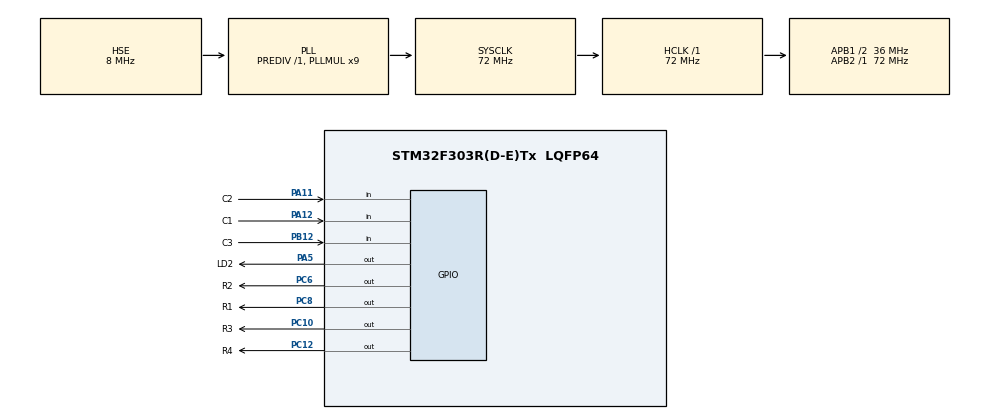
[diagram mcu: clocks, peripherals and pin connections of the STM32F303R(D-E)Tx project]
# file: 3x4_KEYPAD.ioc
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Mcu.Family=STM32F3
RCC.PLLSourceVirtual=RCC_PLLSOURCE_HSE
RCC.CortexFreq_Value=72000000
PC10.GPIO_Label=R3
PC10.Signal=GPIO_Output
PC12.Signal=GPIO_Output
RCC.SYSCLKSourceVirtual=RCC_SYSCLKSOURCE_PLLCLK
PC8.Signal=GPIO_Output
PC6.Signal=GPIO_Output
PC6.GPIO_Label=R2
PA11.GPIO_Label=C2
PC12.GPIO_ModeDefaultOutputPP=GPIO_MODE_OUTPUT_OD
PC10.GPIO_Speed=GPIO_SPEED_FREQ_HIGH
PA11.GPIO_PuPd=GPIO_PULLUP
RCC.APB1CLKDivider=RCC_HCLK_DIV2
PA12.GPIO_Label=C1
ProjectManager.StackSize=0x400
PC8.GPIO_Label=R1
PA13.Signal=SYS_JTMS-SWDIO
PA12.Signal=GPIO_Input
ProjectManager.TargetToolchain=STM32CubeIDE
RCC.HCLKFreq_Value=72000000
RCC.APB2TimFreq_Value=72000000
RCC.USBFreq_Value=72000000
RCC.LSE_VALUE=32768
RCC.AHBFreq_Value=72000000
PF0-OSC_IN.Mode=HSE-External-Oscillator
PA5.Signal=GPIO_Output
RCC.HSE_VALUE=8000000
board=NUCLEO-F303RE
RCC.RCC_PLLsource_Clock_Source_FROM_HSE=RCC_HSE_PREDIV_DIV2
RCC.PLLMUL=RCC_PLL_MUL9
PB12.GPIO_Label=C3
RCC.APB2Freq_Value=72000000
PA14.Mode=Serial_Wire
PA13.Mode=Serial_Wire
Mcu.Name=STM32F303R(D-E)Tx
PC10.GPIO_ModeDefaultOutputPP=GPIO_MODE_OUTPUT_OD
RCC.SYSCLKFreq_VALUE=72000000
Mcu.Package=LQFP64
PA5.GPIO_Label=LD2
RCC.EnbaleCSS=true
PC12.GPIO_Label=R4
PA11.Signal=GPIO_Input
PC8.GPIO_ModeDefaultOutputPP=GPIO_MODE_OUTPUT_OD
PA14.Signal=SYS_JTCK-SWCLK
ProjectManager.HeapSize=0x200
PC8.GPIO_Speed=GPIO_SPEED_FREQ_HIGH
RCC.HSI_VALUE=8000000
RCC.PLLP=RCC_PLLP_DIV4
RCC.PLLQ=7
NVIC.PriorityGroup=NVIC_PRIORITYGROUP_0
RCC.PLLM=8
RCC.PLLN=336
RCC.APB1TimFreq_Value=72000000
PF0-OSC_IN.Signal=RCC_OSC_IN
PF1-OSC_OUT.Mode=HSE-External-Oscillator
PB12.GPIO_PuPd=GPIO_PULLUP
PA12.GPIO_PuPd=GPIO_PULLUP
RCC.APB1Freq_Value=36000000
PC12.GPIO_Speed=GPIO_SPEED_FREQ_HIGH
PC6.GPIO_Speed=GPIO_SPEED_FREQ_HIGH
PB12.Signal=GPIO_Input
PF1-OSC_OUT.Signal=RCC_OSC_OUT
PC6.GPIO_ModeDefaultOutputPP=GPIO_MODE_OUTPUT_OD

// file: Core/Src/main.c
/* USER CODE BEGIN Header */
/* USER CODE END Header */
#include "main.h"

void SystemClock_Config(void);
static void MX_GPIO_Init(void);
/* USER CODE BEGIN PFP */
char keypad_scanner(void);
int _write(int file, char *ptr, int len);
/* USER CODE END PFP */

int main(void)
{

  /* MCU Configuration--------------------------------------------------------*/

  /* Reset of all peripherals, Initializes the Flash interface and the Systick. */
  HAL_Init();

  /* Configure the system clock */
  SystemClock_Config();

  /* Initialize all configured peripherals */
  MX_GPIO_Init();
  /* USER CODE BEGIN 2 */
  char key;
  /* USER CODE END 2 */

  /* Infinite loop */
  /* USER CODE BEGIN WHILE */
  while (1)
  {
	  key = keypad_scanner();

  	  HAL_Delay (200);

  	  if ( key != 'n')
  	  {
		  if (key == '1' || key == '7' || key == '5' || key == '0' || key == '3' || key == '#')
			  {
				 HAL_GPIO_WritePin(LD2_GPIO_Port, LD2_Pin, 1);
			  }

		  else
		  {
			  HAL_GPIO_WritePin(LD2_GPIO_Port, LD2_Pin, 0);
		  }
  	  }

  }
    /* USER CODE END WHILE */

}

void SystemClock_Config(void)
{
  RCC_OscInitTypeDef RCC_OscInitStruct = {0};
  RCC_ClkInitTypeDef RCC_ClkInitStruct = {0};

  /** Initializes the RCC Oscillators according to the specified parameters
  * in the RCC_OscInitTypeDef structure.
  */
  RCC_OscInitStruct.OscillatorType = RCC_OSCILLATORTYPE_HSE;
  RCC_OscInitStruct.HSEState = RCC_HSE_ON;
  RCC_OscInitStruct.HSIState = RCC_HSI_ON;
  RCC_OscInitStruct.PLL.PLLState = RCC_PLL_ON;
  RCC_OscInitStruct.PLL.PLLSource = RCC_PLLSOURCE_HSE;
  RCC_OscInitStruct.PLL.PLLMUL = RCC_PLL_MUL9;
  RCC_OscInitStruct.PLL.PREDIV = RCC_PREDIV_DIV1;
  if (HAL_RCC_OscConfig(&RCC_OscInitStruct) != HAL_OK)
  {
    Error_Handler();
  }
  /** Initializes the CPU, AHB and APB buses clocks
  */
  RCC_ClkInitStruct.ClockType = RCC_CLOCKTYPE_HCLK|RCC_CLOCKTYPE_SYSCLK
                              |RCC_CLOCKTYPE_PCLK1|RCC_CLOCKTYPE_PCLK2;
  RCC_ClkInitStruct.SYSCLKSource = RCC_SYSCLKSOURCE_PLLCLK;
  RCC_ClkInitStruct.AHBCLKDivider = RCC_SYSCLK_DIV1;
  RCC_ClkInitStruct.APB1CLKDivider = RCC_HCLK_DIV2;
  RCC_ClkInitStruct.APB2CLKDivider = RCC_HCLK_DIV1;

  if (HAL_RCC_ClockConfig(&RCC_ClkInitStruct, FLASH_LATENCY_2) != HAL_OK)
  {
    Error_Handler();
  }
  /** Enables the Clock Security System
  */
  HAL_RCC_EnableCSS();
}

static void MX_GPIO_Init(void)
{
  GPIO_InitTypeDef GPIO_InitStruct = {0};

  /* GPIO Ports Clock Enable */
  __HAL_RCC_GPIOF_CLK_ENABLE();
  __HAL_RCC_GPIOA_CLK_ENABLE();
  __HAL_RCC_GPIOB_CLK_ENABLE();
  __HAL_RCC_GPIOC_CLK_ENABLE();

  /*Configure GPIO pin Output Level */
  HAL_GPIO_WritePin(LD2_GPIO_Port, LD2_Pin, GPIO_PIN_RESET);

  /*Configure GPIO pin Output Level */
  HAL_GPIO_WritePin(GPIOC, R2_Pin|R1_Pin|R3_Pin|R4_Pin, GPIO_PIN_RESET);

  /*Configure GPIO pin : LD2_Pin */
  GPIO_InitStruct.Pin = LD2_Pin;
  GPIO_InitStruct.Mode = GPIO_MODE_OUTPUT_PP;
  GPIO_InitStruct.Pull = GPIO_NOPULL;
  GPIO_InitStruct.Speed = GPIO_SPEED_FREQ_LOW;
  HAL_GPIO_Init(LD2_GPIO_Port, &GPIO_InitStruct);

  /*Configure GPIO pin : C3_Pin */
  GPIO_InitStruct.Pin = C3_Pin;
  GPIO_InitStruct.Mode = GPIO_MODE_INPUT;
  GPIO_InitStruct.Pull = GPIO_PULLUP;
  HAL_GPIO_Init(C3_GPIO_Port, &GPIO_InitStruct);

  /*Configure GPIO pins : R2_Pin R1_Pin R3_Pin R4_Pin */
  GPIO_InitStruct.Pin = R2_Pin|R1_Pin|R3_Pin|R4_Pin;
  GPIO_InitStruct.Mode = GPIO_MODE_OUTPUT_OD;
  GPIO_InitStruct.Pull = GPIO_NOPULL;
  GPIO_InitStruct.Speed = GPIO_SPEED_FREQ_HIGH;
  HAL_GPIO_Init(GPIOC, &GPIO_InitStruct);

  /*Configure GPIO pins : C2_Pin C1_Pin */
  GPIO_InitStruct.Pin = C2_Pin|C1_Pin;
  GPIO_InitStruct.Mode = GPIO_MODE_INPUT;
  GPIO_InitStruct.Pull = GPIO_PULLUP;
  HAL_GPIO_Init(GPIOA, &GPIO_InitStruct);

}

/* USER CODE BEGIN 4 */
char keypad_scanner(void)
{
	HAL_GPIO_WritePin(R1_GPIO_Port, R1_Pin, 0); //Pin voltage level is '0'
	HAL_GPIO_WritePin(R2_GPIO_Port, R2_Pin, 1); //Pin voltage level is '1'
	HAL_GPIO_WritePin(R3_GPIO_Port, R3_Pin, 1); //Pin voltage level is '1'
	HAL_GPIO_WritePin(R4_GPIO_Port, R4_Pin, 1); //Pin voltage level is '1'

	if (HAL_GPIO_ReadPin(C1_GPIO_Port, C1_Pin)==0)
	{
		HAL_Delay(50);
		while (HAL_GPIO_ReadPin(C1_GPIO_Port, C1_Pin)==0);
		return '1';
	}

	else if (HAL_GPIO_ReadPin(C2_GPIO_Port, C2_Pin)==0)
	{
		HAL_Delay(50);
		while (HAL_GPIO_ReadPin(C2_GPIO_Port, C2_Pin)==0);
		return '2';
	}

	else if (HAL_GPIO_ReadPin(C3_GPIO_Port, C3_Pin)==0)
	{
		HAL_Delay(50);
		while (HAL_GPIO_ReadPin(C3_GPIO_Port, C3_Pin)==0);
		return '3';
	}

	HAL_GPIO_WritePin(R1_GPIO_Port, R1_Pin, 1); //Pin voltage level is '1'
	HAL_GPIO_WritePin(R2_GPIO_Port, R2_Pin, 0); //Pin voltage level is '0'
	HAL_GPIO_WritePin(R3_GPIO_Port, R3_Pin, 1); //Pin voltage level is '1'
	HAL_GPIO_WritePin(R4_GPIO_Port, R4_Pin, 1); //Pin voltage level is '1'

	if (HAL_GPIO_ReadPin(C1_GPIO_Port, C1_Pin)==0)
	{
		HAL_Delay(50);
		while (HAL_GPIO_ReadPin(C1_GPIO_Port, C1_Pin)==0);
		return '4';
	}

	else if (HAL_GPIO_ReadPin(C2_GPIO_Port, C2_Pin)==0)
	{
		HAL_Delay(50);
		while (HAL_GPIO_ReadPin(C2_GPIO_Port, C2_Pin)==0);
		return '5';
	}

	else if (HAL_GPIO_ReadPin(C3_GPIO_Port, C3_Pin)==0)
	{
		HAL_Delay(50);
		while (HAL_GPIO_ReadPin(C3_GPIO_Port, C3_Pin)==0);
		return '6';
	}

	HAL_GPIO_WritePin(R1_GPIO_Port, R1_Pin, 1); //Pin voltage level is '1'
	HAL_GPIO_WritePin(R2_GPIO_Port, R2_Pin, 1); //Pin voltage level is '1'
	HAL_GPIO_WritePin(R3_GPIO_Port, R3_Pin, 0); //Pin voltage level is '0'
	HAL_GPIO_WritePin(R4_GPIO_Port, R4_Pin, 1); //Pin voltage level is '1'

	if (HAL_GPIO_ReadPin(C1_GPIO_Port, C1_Pin)==0)
	{
		HAL_Delay(50);
		while (HAL_GPIO_ReadPin(C1_GPIO_Port, C1_Pin)==0);
		return '7';
	}

	else if (HAL_GPIO_ReadPin(C2_GPIO_Port, C2_Pin)==0)
	{
		HAL_Delay(50);
		while (HAL_GPIO_ReadPin(C2_GPIO_Port, C2_Pin)==0);
		return '8';
	}

	else if (HAL_GPIO_ReadPin(C3_GPIO_Port, C3_Pin)==0)
	{
		HAL_Delay(50);
		while (HAL_GPIO_ReadPin(C3_GPIO_Port, C3_Pin)==0);
		return '9';
	}

	HAL_GPIO_WritePin(R1_GPIO_Port, R1_Pin, 1); //Pin voltage level is '1'
	HAL_GPIO_WritePin(R2_GPIO_Port, R2_Pin, 1); //Pin voltage level is '1'
	HAL_GPIO_WritePin(R3_GPIO_Port, R3_Pin, 1); //Pin voltage level is '1'
	HAL_GPIO_WritePin(R4_GPIO_Port, R4_Pin, 0); //Pin voltage level is '0'

	if (HAL_GPIO_ReadPin(C1_GPIO_Port, C1_Pin)==0)
	{
		HAL_Delay(50);
		while (HAL_GPIO_ReadPin(C1_GPIO_Port, C1_Pin)==0);
		return '*';
	}

	else if (HAL_GPIO_ReadPin(C2_GPIO_Port, C2_Pin)==0)
	{
		HAL_Delay(50);
		while (HAL_GPIO_ReadPin(C2_GPIO_Port, C2_Pin)==0);
		return '0';
	}

	else if (HAL_GPIO_ReadPin(C3_GPIO_Port, C3_Pin)==0)
	{
		HAL_Delay(50);
		while (HAL_GPIO_ReadPin(C3_GPIO_Port, C3_Pin)==0);
		return '#';
	}

	return 'n';
}

int _write(int file, char *ptr, int len)
{
	  /* Implement your write code here, this is used by puts and printf for example */
	  int i=0;
	  for(i=0 ; i<len ; i++)
	  ITM_SendChar((*ptr++));
	  return len;
}
/* USER CODE END 4 */

void Error_Handler(void)
{
}

/************************ (C) COPYRIGHT STMicroelectronics *****END OF FILE****/
